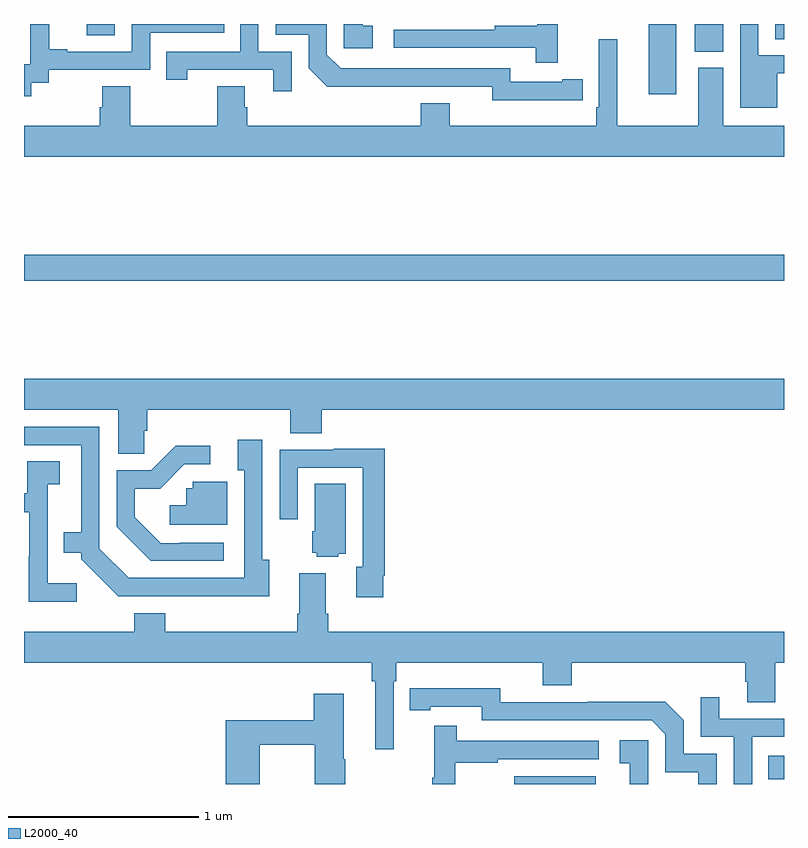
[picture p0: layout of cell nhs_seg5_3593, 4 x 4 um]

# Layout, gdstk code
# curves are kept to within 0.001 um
import gdstk
lib = gdstk.Library(unit=1e-6, precision=1e-09)
def R(c, l, rs):  # rectangles x0, y0, x1, y1
    for r in rs: c.add(gdstk.rectangle(r[:2], r[2:], *l))
def P(c, l, *ps):  # polygons
    for p in ps: c.add(gdstk.Polygon(p, *l))
L2000_40 = (2000, 40)

nhs_seg5_3593 = lib.new_cell('nhs_seg5_3593')
R(nhs_seg5_3593, L2000_40, [(325.581,846.799,326.008,846.841), (326.917,846.825,327,846.948), (323,849.448,327,849.584), (326.288,850.428,326.434,850.799), (326.531,850.654,326.68,850.799), (326.954,850.72,327,850.799), (323.331,850.74,323.478,850.799)])
P(nhs_seg5_3593, L2000_40, [(325.832,850.398),(325.94,850.398),(325.94,850.507),(325.832,850.507),(325.832,850.494),(325.56,850.494),(325.56,850.566),(324.666,850.566),(324.594,850.638),(324.594,850.799),(324.324,850.799),(324.324,850.743),(324.498,850.743),(324.498,850.566),(324.596,850.469),(325.464,850.47),(325.464,850.397)],
  [(324.408,850.653),(324.234,850.653),(324.234,850.799),(324.138,850.799),(324.138,850.653),(323.749,850.653),(323.749,850.506),(323.86,850.506),(323.86,850.557),(324.311,850.557),(324.311,850.446),(324.408,850.446)],
  [(324.835,850.791),(324.782,850.791),(324.782,850.799),(324.684,850.799),(324.684,850.671),(324.835,850.671)],
  [(326.965,850.539),(327,850.539),(327,850.635),(326.865,850.635),(326.865,850.799),(326.769,850.799),(326.769,850.358),(326.965,850.358)],
  [(323.038,850.489),(323.13,850.489),(323.13,850.557),(323.664,850.557),(323.664,850.752),(324.053,850.752),(324.053,850.799),(323.568,850.799),(323.568,850.653),(323.227,850.653),(323.227,850.666),(323.132,850.666),(323.132,850.799),(323.034,850.799),(323.034,850.587),(323,850.587),(323,850.419),(323.038,850.419)],
  [(325.809,850.799),(325.701,850.799),(325.701,850.79),(325.477,850.79),(325.477,850.77),(324.945,850.77),(324.945,850.674),(325.693,850.674),(325.693,850.596),(325.809,850.596)],
  [(327,850.264),(326.68,850.264),(326.68,850.569),(326.549,850.569),(326.549,850.264),(326.122,850.264),(326.122,850.72),(326.025,850.72),(326.025,850.36),(326.012,850.36),(326.012,850.264),(325.24,850.264),(325.24,850.381),(325.088,850.381),(325.088,850.264),(324.176,850.264),(324.176,850.362),(324.163,850.362),(324.163,850.472),(324.016,850.472),(324.016,850.264),(323.559,850.264),(323.559,850.472),(323.411,850.472),(323.411,850.362),(323.399,850.362),(323.399,850.264),(323,850.264),(323,850.1),(327,850.1)],
  [(323.633,848.658),(323.648,848.658),(323.648,848.768),(324.401,848.768),(324.401,848.644),(324.566,848.644),(324.566,848.768),(327,848.768),(327,848.932),(323,848.932),(323,848.768),(323.495,848.768),(323.495,848.536),(323.633,848.536)],
  [(324.292,847.978),(324.255,847.978),(324.255,848.611),(324.125,848.611),(324.125,848.45),(324.159,848.45),(324.159,847.884),(323.55,847.884),(323.397,848.037),(323.397,848.679),(323,848.679),(323,848.583),(323.3,848.583),(323.3,848.125),(323.209,848.125),(323.209,848.015),(323.301,848.015),(323.301,847.983),(323.496,847.788),(324.292,847.787)],
  [(324.052,848.07),(323.821,848.07),(323.821,848.067),(323.721,848.067),(323.584,848.204),(323.584,848.354),(323.717,848.354),(323.844,848.481),(323.98,848.481),(323.98,848.579),(323.798,848.579),(323.67,848.451),(323.487,848.451),(323.487,848.153),(323.666,847.974),(324.052,847.974)],
  [(324.892,847.894),(324.899,847.894),(324.899,848.563),(324.629,848.563),(324.629,848.559),(324.345,848.559),(324.345,848.193),(324.441,848.193),(324.441,848.463),(324.783,848.463),(324.783,847.943),(324.749,847.943),(324.749,847.782),(324.892,847.782)],
  [(323.278,847.855),(323.124,847.855),(323.124,848.377),(323.188,848.377),(323.188,848.498),(323.016,848.498),(323.016,848.328),(323,848.328),(323,848.229),(323.028,848.229),(323.028,847.997),(323.026,847.997),(323.026,847.757),(323.278,847.757)],
  [(324.07,848.391),(323.889,848.391),(323.889,848.355),(323.853,848.355),(323.853,848.266),(323.766,848.266),(323.766,848.163),(324.07,848.163)],
  [(324.654,848.012),(324.694,848.012),(324.694,848.378),(324.53,848.378),(324.53,848.13),(324.518,848.13),(324.518,848.016),(324.54,848.016),(324.54,847.994),(324.654,847.994)],
  [(324.945,847.34),(324.959,847.34),(324.959,847.436),(325.73,847.436),(325.73,847.319),(325.883,847.319),(325.883,847.436),(326.795,847.436),(326.795,847.338),(326.807,847.338),(326.807,847.228),(326.955,847.228),(326.955,847.436),(327,847.436),(327,847.6),(324.602,847.6),(324.602,847.696),(324.589,847.696),(324.589,847.909),(324.449,847.909),(324.449,847.696),(324.437,847.696),(324.437,847.6),(323.744,847.6),(323.744,847.699),(323.579,847.699),(323.579,847.6),(323,847.6),(323,847.436),(324.829,847.436),(324.829,847.34),(324.848,847.34),(324.848,846.981),(324.945,846.981)],
  [(326.646,846.957),(326.472,846.957),(326.472,847.134),(326.374,847.232),(325.966,847.232),(325.966,847.23),(325.506,847.23),(325.506,847.303),(325.03,847.302),(325.03,847.186),(325.138,847.186),(325.138,847.206),(325.41,847.206),(325.41,847.134),(326.304,847.134),(326.376,847.062),(326.376,846.861),(326.549,846.861),(326.549,846.799),(326.646,846.799)],
  [(324.24,847.006),(324.529,847.006),(324.529,846.799),(324.69,846.799),(324.69,846.929),(324.682,846.929),(324.682,847.273),(324.524,847.273),(324.524,847.135),(324.062,847.135),(324.062,846.799),(324.24,846.799)],
  [(326.832,847.047),(327,847.047),(327,847.143),(326.659,847.143),(326.659,847.255),(326.562,847.255),(326.562,847.047),(326.736,847.047),(326.736,846.799),(326.832,846.799)],
  [(325.27,846.91),(325.493,846.91),(325.493,846.93),(326.026,846.93),(326.026,847.026),(325.277,847.026),(325.277,847.105),(325.16,847.105),(325.16,846.833),(325.149,846.833),(325.149,846.799),(325.27,846.799)],
  [(326.286,847.03),(326.136,847.03),(326.136,846.909),(326.189,846.909),(326.189,846.799),(326.286,846.799)])

lib.write_gds('nhs_seg5_3593.gds')
